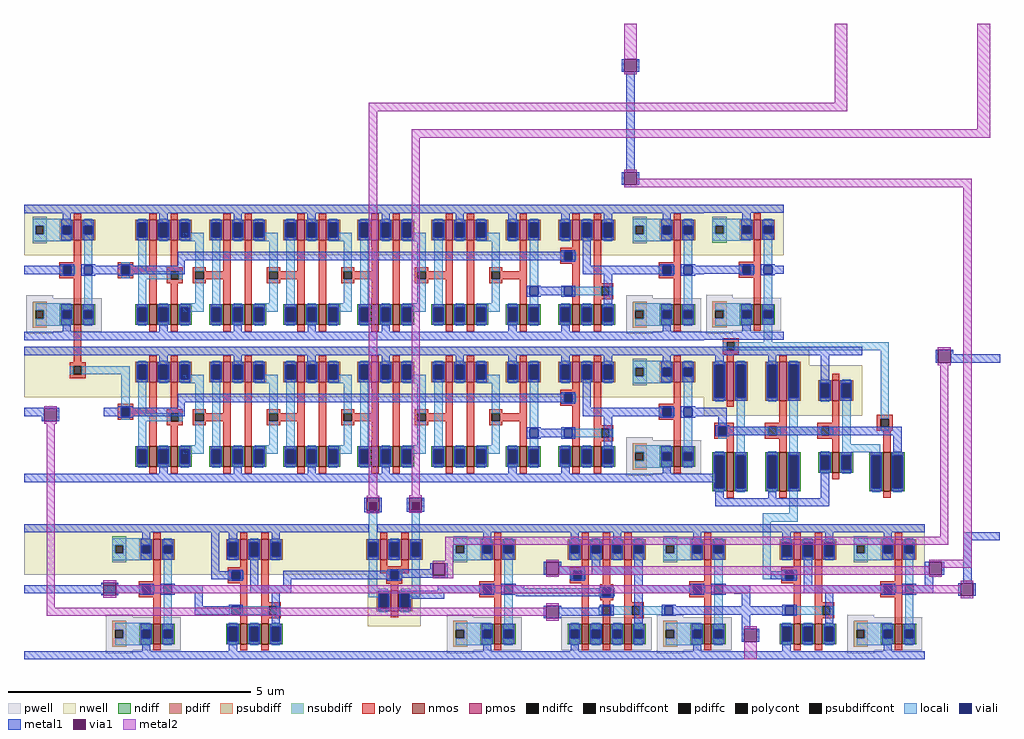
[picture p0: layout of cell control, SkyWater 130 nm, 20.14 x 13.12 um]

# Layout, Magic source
magic
tech sky130A
magscale 1 2
<< nwell >>
rect 0 -236 330 -28
rect 0 -968 328 -760
rect 658 -968 798 -760
rect 1104 -968 1376 -760
rect 1682 -887 1781 -760
rect 1638 -968 1781 -887
rect 2065 -968 2208 -760
rect 2932 -968 3083 -760
rect 1420 -973 1638 -968
<< ndiff >>
rect 3148 -476 3206 -464
rect 3148 -612 3160 -476
rect 3194 -612 3206 -476
rect 3148 -624 3206 -612
<< pdiff >>
rect 3148 -102 3206 -90
rect 3148 -238 3160 -102
rect 3194 -238 3206 -102
rect 3148 -250 3206 -238
<< ndiffc >>
rect 3160 -612 3194 -476
<< pdiffc >>
rect 3160 -238 3194 -102
<< poly >>
rect 206 -92 236 37
rect 2884 -9 2950 7
rect 2884 -43 2900 -9
rect 2934 -43 2950 -9
rect 2884 -59 2950 -43
rect 2900 -64 2930 -59
rect 188 -108 254 -92
rect 188 -142 204 -108
rect 238 -142 254 -108
rect 188 -158 254 -142
rect 3118 -342 3148 -276
rect 3336 -342 3366 -250
rect 2850 -358 2930 -342
rect 2850 -392 2866 -358
rect 2900 -392 2930 -358
rect 2850 -408 2930 -392
rect 3057 -358 3148 -342
rect 3057 -392 3073 -358
rect 3107 -392 3148 -358
rect 3057 -408 3148 -392
rect 3275 -358 3366 -342
rect 3275 -392 3291 -358
rect 3325 -392 3366 -358
rect 3520 -324 3586 -308
rect 3520 -358 3536 -324
rect 3570 -358 3586 -324
rect 3520 -374 3586 -358
rect 3275 -408 3366 -392
rect 2900 -438 2930 -408
rect 3118 -438 3148 -408
rect 3336 -464 3366 -408
rect 3547 -438 3577 -374
rect 1470 -933 1500 -932
rect 1558 -933 1588 -932
rect 1470 -953 1588 -933
rect 1470 -963 1512 -953
rect 1496 -987 1512 -963
rect 1546 -963 1588 -953
rect 1546 -987 1562 -963
rect 1496 -1005 1562 -987
rect 1514 -1009 1544 -1005
<< polycont >>
rect 2900 -43 2934 -9
rect 204 -142 238 -108
rect 2866 -392 2900 -358
rect 3073 -392 3107 -358
rect 3291 -392 3325 -358
rect 3536 -358 3570 -324
rect 1512 -987 1546 -953
<< locali >>
rect 3054 -9 3088 60
rect 2884 -43 2900 -9
rect 2934 -43 3570 -9
rect 3160 -102 3194 -86
rect 188 -142 204 -108
rect 238 -142 436 -108
rect 402 -264 436 -142
rect 2866 -358 2900 -342
rect 2866 -408 2900 -392
rect 2942 -358 2976 -254
rect 3160 -358 3194 -238
rect 2942 -392 3073 -358
rect 3107 -392 3123 -358
rect 3160 -392 3291 -358
rect 3325 -392 3341 -358
rect 2942 -460 2976 -392
rect 3160 -476 3194 -392
rect 3378 -430 3412 -254
rect 3536 -324 3570 -43
rect 3536 -374 3570 -358
rect 3378 -460 3535 -430
rect 3412 -464 3535 -460
rect 1424 -834 1458 -704
rect 1600 -822 1634 -703
rect 3160 -716 3194 -612
rect 3049 -750 3194 -716
rect 1424 -1026 1458 -895
rect 1496 -987 1512 -953
rect 1546 -987 1562 -953
rect 1600 -1026 1634 -910
rect 3049 -954 3083 -750
rect 3049 -988 3128 -954
rect 1424 -1027 1468 -1026
rect 1590 -1027 1634 -1026
rect 1424 -1047 1502 -1027
rect 1556 -1047 1634 -1027
rect 1424 -1061 1468 -1047
rect 1590 -1061 1634 -1047
rect 2558 -1133 2645 -1099
<< viali >>
rect 3160 -238 3194 -102
rect 2866 -392 2900 -358
rect 3160 -612 3194 -476
rect 1424 -704 1458 -670
rect 1600 -703 1634 -669
rect 1512 -987 1546 -953
rect 2645 -1133 2679 -1099
<< metal1 >>
rect 2467 1107 2477 1159
rect 2529 1107 2539 1159
rect 2487 693 2521 1107
rect 2467 641 2477 693
rect 2530 641 2540 693
rect 2854 -28 3024 -27
rect 0 -63 330 -28
rect 2806 -62 3461 -28
rect 2854 -90 2888 -62
rect 3072 -90 3106 -62
rect 3154 -102 3200 -90
rect 3154 -238 3160 -102
rect 3194 -238 3200 -102
rect 3290 -166 3324 -62
rect 3763 -94 3773 -40
rect 3825 -59 3835 -40
rect 3825 -93 4029 -59
rect 3825 -94 3835 -93
rect 3154 -250 3200 -238
rect 0 -283 145 -280
rect 0 -314 83 -283
rect 73 -335 83 -314
rect 135 -335 145 -283
rect 2806 -314 2900 -280
rect 2866 -352 2900 -314
rect 2854 -358 2912 -352
rect 2854 -392 2866 -358
rect 2900 -392 3623 -358
rect 2854 -398 2912 -392
rect 3589 -464 3623 -392
rect 3154 -476 3200 -464
rect 0 -586 330 -552
rect 2806 -586 2854 -552
rect 3154 -612 3160 -476
rect 3194 -612 3200 -476
rect 3154 -624 3200 -612
rect 1405 -704 1415 -652
rect 1467 -704 1477 -652
rect 1405 -710 1477 -704
rect 1580 -703 1590 -651
rect 1642 -703 1652 -651
rect 2854 -653 2888 -624
rect 3072 -653 3106 -624
rect 3290 -653 3324 -548
rect 2854 -687 3325 -653
rect 1580 -709 1652 -703
rect 0 -794 328 -760
rect 658 -794 798 -760
rect 1104 -794 1424 -760
rect 1458 -794 1735 -760
rect 2065 -794 2208 -760
rect 2932 -794 3083 -760
rect 772 -988 806 -794
rect 3878 -827 4028 -793
rect 1677 -947 1687 -922
rect 1500 -953 1687 -947
rect 1070 -987 1512 -953
rect 1546 -974 1687 -953
rect 1739 -974 1749 -922
rect 2146 -968 2156 -916
rect 2208 -968 2218 -916
rect 3719 -968 3736 -916
rect 3788 -968 3798 -916
rect 1546 -981 1749 -974
rect 1546 -987 1558 -981
rect 318 -1012 328 -1002
rect 0 -1046 328 -1012
rect 318 -1054 328 -1046
rect 380 -1054 390 -1002
rect 658 -1046 738 -1012
rect 1070 -1046 1104 -987
rect 1500 -993 1558 -987
rect 1707 -1034 1735 -1012
rect 704 -1099 738 -1046
rect 1596 -1068 1735 -1034
rect 2029 -1058 2208 -1024
rect 2932 -1047 2997 -1012
rect 3719 -1046 3753 -968
rect 3878 -1003 3912 -827
rect 704 -1133 798 -1099
rect 2146 -1148 2156 -1096
rect 2208 -1148 2218 -1096
rect 2633 -1099 2691 -1093
rect 2963 -1099 2997 -1047
rect 3857 -1055 3867 -1003
rect 3919 -1055 3929 -1003
rect 2633 -1133 2645 -1099
rect 2679 -1133 3083 -1099
rect 2633 -1139 2691 -1133
rect 2963 -1192 2997 -1133
rect 2963 -1245 2973 -1192
rect 3025 -1245 3035 -1192
rect 0 -1318 328 -1284
rect 658 -1318 798 -1284
rect 1104 -1318 1735 -1284
rect 2065 -1318 2208 -1284
rect 2932 -1318 3083 -1284
<< via1 >>
rect 2477 1107 2529 1159
rect 2477 641 2530 693
rect 3773 -94 3825 -40
rect 83 -335 135 -283
rect 1415 -670 1467 -652
rect 1415 -704 1424 -670
rect 1424 -704 1458 -670
rect 1458 -704 1467 -670
rect 1590 -669 1642 -651
rect 1590 -703 1600 -669
rect 1600 -703 1634 -669
rect 1634 -703 1642 -669
rect 1687 -974 1739 -922
rect 2156 -968 2208 -916
rect 3736 -968 3788 -916
rect 328 -1054 380 -1002
rect 2156 -1148 2208 -1096
rect 3867 -1055 3919 -1003
rect 2973 -1245 3025 -1192
<< metal2 >>
rect 2477 1159 2529 1306
rect 2477 1097 2529 1107
rect 3346 979 3398 1306
rect 1424 945 3398 979
rect 83 -283 135 -273
rect 83 -345 135 -335
rect 93 -1105 127 -345
rect 1424 -642 1458 945
rect 3936 870 3988 1306
rect 1600 836 3988 870
rect 1600 -641 1634 836
rect 2477 693 2530 703
rect 2530 641 3912 665
rect 2477 631 3912 641
rect 3773 -40 3825 -30
rect 3773 -104 3825 -94
rect 1415 -652 1467 -642
rect 1415 -714 1467 -704
rect 1590 -651 1642 -641
rect 1590 -713 1642 -703
rect 3782 -811 3816 -104
rect 1739 -845 3816 -811
rect 1739 -912 1773 -845
rect 3878 -906 3912 631
rect 1687 -922 1773 -912
rect 1739 -974 1773 -922
rect 1687 -984 1773 -974
rect 2156 -916 2208 -906
rect 3736 -916 3912 -906
rect 2208 -968 3736 -934
rect 3788 -940 3912 -916
rect 2156 -978 2208 -968
rect 3736 -978 3788 -968
rect 328 -1002 380 -992
rect 3867 -1003 3919 -993
rect 380 -1046 3867 -1012
rect 328 -1064 380 -1054
rect 3867 -1065 3919 -1055
rect 2156 -1096 2208 -1086
rect 93 -1139 2156 -1105
rect 2156 -1158 2208 -1148
rect 2973 -1192 3025 -1182
rect 2973 -1318 3025 -1245
use del_cell  del_cell_0
transform 1 0 496 0 1 1
box -166 -1 2310 557
use del_cell  del_cell_1
transform 1 0 496 0 1 -585
box -166 -1 2310 557
use sky130_fd_pr__nfet_01v8_BBXUYH  m1
transform 1 0 2915 0 1 -544
box -73 -106 73 106
use sky130_fd_pr__pfet_01v8_5C6TXA  m2
transform 1 0 2915 0 1 -170
box -109 -142 109 142
use sky130_fd_pr__pfet_01v8_5C6TXA  m3
transform 1 0 3133 0 1 -170
box -109 -142 109 142
use sky130_fd_pr__nfet_01v8_BBXUYH  m4
transform 1 0 3133 0 1 -544
box -73 -106 73 106
use sky130_fd_pr__pfet_01v8_4Y88KP  m5
transform 1 0 3351 0 1 -208
box -109 -104 109 104
use sky130_fd_pr__nfet_01v8_A6LSUL  m6
transform 1 0 3351 0 1 -506
box -73 -68 73 68
use sky130_fd_pr__nfet_01v8_BBXUYH  m7
transform 1 0 3562 0 1 -544
box -73 -106 73 106
use sky130_fd_pr__pfet_01v8_4Y88KP  m8
transform -1 0 1485 0 1 -864
box -109 -104 109 104
use sky130_fd_pr__pfet_01v8_4Y88KP  m9
transform 1 0 1573 0 1 -864
box -109 -104 109 104
use sky130_fd_pr__pfet_01v8_4Y88KP  m10
transform 1 0 1529 0 1 -1077
box -109 -104 109 104
use nand2_f  nand2_f_0 ~/Desktop/FabRAM/FE/sram130/nand2
transform 1 0 3083 0 1 -1456
box 0 138 306 696
use nand2_f  nand2_f_1
transform 1 0 798 0 1 -1456
box 0 138 306 696
use nand3_f  nand3_f_0 ~/Desktop/FabRAM/FE/sram130/nand3
transform 1 0 2208 0 1 -1456
box 0 138 394 696
use not_f  not_f_0 ~/Desktop/FabRAM/FE/sram130/not
transform 1 0 0 0 1 -138
box 0 138 330 696
use not_f  not_f_1
transform 1 0 2806 0 1 -137
box 0 138 330 696
use not_f  not_f_2
transform 1 0 3389 0 1 -1456
box 0 138 330 696
use not_f  not_f_3
transform 1 0 328 0 1 -1456
box 0 138 330 696
use not_f  not_f_4
transform 1 0 1735 0 1 -1456
box 0 138 330 696
use not_f  not_f_5
transform 1 0 2602 0 1 -1456
box 0 138 330 696
<< end >>

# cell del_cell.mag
magic
tech sky130A
magscale 1 2
<< nwell >>
rect -166 349 -73 557
<< nmos >>
rect 633 62 663 146
rect 939 62 969 146
rect 1244 62 1274 146
rect 1550 62 1580 146
<< pmos >>
rect 633 411 663 495
rect 939 411 969 495
rect 1244 411 1274 495
rect 1550 411 1580 495
<< ndiff >>
rect 445 134 503 146
rect 445 74 457 134
rect 491 74 503 134
rect 445 62 503 74
rect 751 134 809 146
rect 751 74 763 134
rect 797 74 809 134
rect 751 62 809 74
rect 1056 134 1114 146
rect 1056 74 1068 134
rect 1102 74 1114 134
rect 1056 62 1114 74
rect 1362 134 1420 146
rect 1362 74 1374 134
rect 1408 74 1420 134
rect 1362 62 1420 74
<< pdiff >>
rect 445 483 503 495
rect 445 423 457 483
rect 491 423 503 483
rect 445 411 503 423
rect 751 483 809 495
rect 751 423 763 483
rect 797 423 809 483
rect 751 411 809 423
rect 1056 483 1114 495
rect 1056 423 1068 483
rect 1102 423 1114 483
rect 1056 411 1114 423
rect 1362 483 1420 495
rect 1362 423 1374 483
rect 1408 423 1420 483
rect 1362 411 1420 423
<< ndiffc >>
rect 457 74 491 134
rect 763 74 797 134
rect 1068 74 1102 134
rect 1374 74 1408 134
<< pdiffc >>
rect 457 423 491 483
rect 763 423 797 483
rect 1068 423 1102 483
rect 1374 423 1408 483
<< poly >>
rect 633 495 663 521
rect 939 495 969 521
rect 1244 495 1274 521
rect 1550 495 1580 521
rect -110 305 -44 321
rect 21 305 51 385
rect -110 271 -94 305
rect -60 271 51 305
rect 109 299 139 386
rect -110 255 -44 271
rect 21 172 51 271
rect 93 283 159 299
rect 93 249 109 283
rect 143 249 159 283
rect 93 233 159 249
rect 201 283 255 299
rect 327 283 357 385
rect 201 249 211 283
rect 245 249 357 283
rect 201 233 255 249
rect 109 172 139 233
rect 327 172 357 249
rect 415 172 445 385
rect 507 283 561 299
rect 633 283 663 411
rect 507 249 517 283
rect 551 249 663 283
rect 507 233 561 249
rect 633 146 663 249
rect 721 172 751 385
rect 813 283 867 299
rect 939 283 969 411
rect 813 249 823 283
rect 857 249 969 283
rect 813 233 867 249
rect 939 146 969 249
rect 1026 169 1056 386
rect 1118 283 1172 299
rect 1244 283 1274 411
rect 1118 249 1128 283
rect 1162 249 1274 283
rect 1118 233 1172 249
rect 1244 146 1274 249
rect 1332 172 1362 385
rect 1424 283 1478 299
rect 1550 283 1580 411
rect 1424 249 1434 283
rect 1468 249 1580 283
rect 1424 233 1478 249
rect 1550 146 1580 249
rect 633 36 663 62
rect 939 36 969 62
rect 1244 36 1274 62
rect 1550 36 1580 62
<< polycont >>
rect -94 271 -60 305
rect 109 249 143 283
rect 211 249 245 283
rect 517 249 551 283
rect 823 249 857 283
rect 1128 249 1162 283
rect 1434 249 1468 283
<< locali >>
rect 457 483 491 499
rect 159 407 245 441
rect 763 483 797 499
rect 491 423 551 441
rect 457 407 551 423
rect 1068 483 1102 499
rect 797 423 857 441
rect 763 407 857 423
rect 1374 483 1408 499
rect 1102 423 1162 441
rect 1068 407 1162 423
rect 1408 423 1468 441
rect 1374 407 1468 423
rect -94 305 -60 321
rect -94 255 -60 271
rect -25 283 9 407
rect 211 283 245 407
rect -25 249 109 283
rect 143 249 159 283
rect -25 150 9 249
rect 211 150 245 249
rect 281 150 315 407
rect 517 283 551 407
rect 517 150 551 249
rect 587 150 621 407
rect 823 283 857 407
rect 823 150 857 249
rect 892 150 926 407
rect 1128 283 1162 407
rect 1128 150 1162 249
rect 1198 150 1232 407
rect 1434 283 1468 407
rect 1434 150 1468 249
rect 1592 218 1626 407
rect 1592 150 1626 184
rect 159 116 245 150
rect 457 134 551 150
rect 491 116 551 134
rect 763 134 857 150
rect 457 58 491 74
rect 797 116 857 134
rect 1068 134 1162 150
rect 763 58 797 74
rect 1102 116 1162 134
rect 1374 134 1468 150
rect 1068 58 1102 74
rect 1408 116 1468 134
rect 1374 58 1408 74
<< viali >>
rect 457 423 491 483
rect 763 423 797 483
rect 1068 423 1102 483
rect 1374 423 1408 483
rect -94 271 -60 305
rect 1592 184 1626 218
rect 457 74 491 134
rect 763 74 797 134
rect 1068 74 1102 134
rect 1374 74 1408 134
<< metal1 >>
rect -166 523 1674 557
rect 63 495 97 523
rect 369 495 403 523
rect 674 495 708 523
rect 980 495 1014 523
rect 1286 495 1320 523
rect 1504 495 1538 523
rect 451 483 497 495
rect 451 423 457 483
rect 491 423 497 483
rect 451 411 497 423
rect 757 483 803 495
rect 757 423 763 483
rect 797 423 803 483
rect 757 411 803 423
rect 1062 483 1108 495
rect 1062 423 1068 483
rect 1102 423 1108 483
rect 1062 411 1108 423
rect 1368 483 1414 495
rect 1368 423 1374 483
rect 1408 423 1414 483
rect 1368 411 1414 423
rect 139 329 1674 363
rect -106 305 -48 311
rect 139 305 167 329
rect -166 271 -94 305
rect -60 271 167 305
rect -106 265 -48 271
rect 1580 218 1638 224
rect 1580 184 1592 218
rect 1626 184 1674 218
rect 1580 178 1638 184
rect 451 134 497 146
rect 451 74 457 134
rect 491 74 497 134
rect 451 62 497 74
rect 757 134 803 146
rect 757 74 763 134
rect 797 74 803 134
rect 757 62 803 74
rect 1062 134 1108 146
rect 1062 74 1068 134
rect 1102 74 1108 134
rect 1062 62 1108 74
rect 1368 134 1414 146
rect 1368 74 1374 134
rect 1408 74 1414 134
rect 1368 62 1414 74
rect 63 33 97 62
rect 369 33 403 62
rect 675 33 709 62
rect 980 33 1014 62
rect 1504 33 1538 62
rect -166 -1 1674 33
use sky130_fd_pr__nfet_01v8_A6LSUL  m1
transform -1 0 36 0 1 104
box -73 -68 73 68
use sky130_fd_pr__nfet_01v8_A6LSUL  m2
transform 1 0 124 0 1 104
box -73 -68 73 68
use sky130_fd_pr__nfet_01v8_A6LSUL  m3
transform -1 0 342 0 1 104
box -73 -68 73 68
use sky130_fd_pr__nfet_01v8_A6LSUL  m4
transform 1 0 430 0 1 104
box -73 -68 73 68
use sky130_fd_pr__nfet_01v8_A6LSUL  m5
transform -1 0 648 0 1 104
box -73 -68 73 68
use sky130_fd_pr__nfet_01v8_A6LSUL  m6
transform 1 0 736 0 1 104
box -73 -68 73 68
use sky130_fd_pr__nfet_01v8_A6LSUL  m7
transform -1 0 953 0 1 104
box -73 -68 73 68
use sky130_fd_pr__nfet_01v8_A6LSUL  m8
transform 1 0 1041 0 1 104
box -73 -68 73 68
use sky130_fd_pr__nfet_01v8_A6LSUL  m9
transform -1 0 1259 0 1 104
box -73 -68 73 68
use sky130_fd_pr__nfet_01v8_A6LSUL  m10
transform -1 0 1347 0 1 104
box -73 -68 73 68
use sky130_fd_pr__nfet_01v8_A6LSUL  m11
transform 1 0 1565 0 1 104
box -73 -68 73 68
use sky130_fd_pr__pfet_01v8_4Y88KP  m12
transform -1 0 36 0 1 453
box -109 -104 109 104
use sky130_fd_pr__pfet_01v8_4Y88KP  m13
transform 1 0 124 0 1 453
box -109 -104 109 104
use sky130_fd_pr__pfet_01v8_4Y88KP  m14
transform -1 0 342 0 1 453
box -109 -104 109 104
use sky130_fd_pr__pfet_01v8_4Y88KP  m15
transform 1 0 430 0 1 453
box -109 -104 109 104
use sky130_fd_pr__pfet_01v8_4Y88KP  m16
transform -1 0 648 0 1 453
box -109 -104 109 104
use sky130_fd_pr__pfet_01v8_4Y88KP  m17
transform 1 0 736 0 1 453
box -109 -104 109 104
use sky130_fd_pr__pfet_01v8_4Y88KP  m18
transform -1 0 953 0 1 453
box -109 -104 109 104
use sky130_fd_pr__pfet_01v8_4Y88KP  m19
transform 1 0 1041 0 1 453
box -109 -104 109 104
use sky130_fd_pr__pfet_01v8_4Y88KP  m20
transform -1 0 1259 0 1 453
box -109 -104 109 104
use sky130_fd_pr__pfet_01v8_4Y88KP  m21
transform 1 0 1347 0 1 453
box -109 -104 109 104
use sky130_fd_pr__pfet_01v8_4Y88KP  m22
transform 1 0 1565 0 1 453
box -109 -104 109 104
use nand2_f  nand2_f_0 ~/Desktop/FabRAM/FE/sram130/nand2
transform 1 0 1674 0 1 -139
box 0 138 306 696
use not_f  not_f_0 ~/Desktop/FabRAM/FE/sram130/not
transform 1 0 1980 0 1 -139
box 0 138 330 696
<< end >>

# cell sky130_fd_pr__nfet_01v8_BBXUYH: kit device sky130_fd_pr__nfet_01v8, w 0.8 l 0.150 m 1 nf 1 diffcov 100 polycov 100 guard 0 glc 0 grc 0 gtc 0 gbc 0 tbcov 100 rlcov 100 topc 0 botc 0 poverlap 0 doverlap 0 lmin 0.15 wmin 0.42 compatible {sky130_fd_pr__nfet_01v8 sky130_fd_pr__nfet_01v8_lvt sky130_fd_bs_flash__special_sonosfet_star sky130_fd_pr__nfet_g5v0d10v5 sky130_fd_pr__nfet_05v0_nvt sky130_fd_pr__nfet_03v3_nvt} full_metal 0 viasrc 100 viadrn 100 viagate 100 viagb 0 viagr 0 viagl 0 viagt 0

# cell sky130_fd_pr__pfet_01v8_5C6TXA: kit device sky130_fd_pr__pfet_01v8, w 0.8 l 0.15 m 1 nf 1 diffcov 100 polycov 100 guard 0 glc 0 grc 0 gtc 0 gbc 0 tbcov 100 rlcov 100 topc 0 botc 0 poverlap 0 doverlap 0 lmin 0.15 wmin 0.42 compatible {sky130_fd_pr__pfet_01v8 sky130_fd_pr__pfet_01v8_lvt sky130_fd_pr__pfet_01v8_hvt sky130_fd_pr__pfet_g5v0d10v5} full_metal 0 viasrc 100 viadrn 100 viagate 100 viagb 0 viagr 0 viagl 0 viagt 0

# cell sky130_fd_pr__pfet_01v8_4Y88KP: kit device sky130_fd_pr__pfet_01v8, w 0.42 l 0.15 m 1 nf 1 diffcov 100 polycov 100 guard 0 glc 0 grc 0 gtc 0 gbc 0 tbcov 100 rlcov 100 topc 0 botc 0 poverlap 0 doverlap 0 lmin 0.15 wmin 0.42 compatible {sky130_fd_pr__pfet_01v8 sky130_fd_pr__pfet_01v8_lvt sky130_fd_pr__pfet_01v8_hvt sky130_fd_pr__pfet_g5v0d10v5} full_metal 0 viasrc 100 viadrn 100 viagate 100 viagb 0 viagr 0 viagl 0 viagt 0

# cell sky130_fd_pr__nfet_01v8_A6LSUL: kit device sky130_fd_pr__nfet_01v8, w 0.420 l 0.150 m 1 nf 1 diffcov 100 polycov 100 guard 0 glc 0 grc 0 gtc 0 gbc 0 tbcov 100 rlcov 100 topc 0 botc 0 poverlap 0 doverlap 0 lmin 0.15 wmin 0.42 compatible {sky130_fd_pr__nfet_01v8 sky130_fd_pr__nfet_01v8_lvt sky130_fd_bs_flash__special_sonosfet_star sky130_fd_pr__nfet_g5v0d10v5 sky130_fd_pr__nfet_05v0_nvt sky130_fd_pr__nfet_03v3_nvt} full_metal 0 viasrc 100 viadrn 100 viagate 100 viagb 0 viagr 0 viagl 0 viagt 0

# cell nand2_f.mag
magic
tech sky130A
magscale 1 2
<< nwell >>
rect 0 488 306 696
<< nmos >>
rect 94 201 124 285
rect 182 201 212 285
<< pmos >>
rect 94 550 124 634
rect 182 550 212 634
<< ndiff >>
rect 36 273 94 285
rect 36 213 48 273
rect 82 213 94 273
rect 36 201 94 213
rect 124 273 182 285
rect 124 213 136 273
rect 170 213 182 273
rect 124 201 182 213
rect 212 273 270 285
rect 212 213 224 273
rect 258 213 270 273
rect 212 201 270 213
<< pdiff >>
rect 36 622 94 634
rect 36 562 48 622
rect 82 562 94 622
rect 36 550 94 562
rect 124 622 182 634
rect 124 562 136 622
rect 170 562 182 622
rect 124 550 182 562
rect 212 622 270 634
rect 212 562 224 622
rect 258 562 270 622
rect 212 550 270 562
<< ndiffc >>
rect 48 213 82 273
rect 136 213 170 273
rect 224 213 258 273
<< pdiffc >>
rect 48 562 82 622
rect 136 562 170 622
rect 224 562 258 622
<< poly >>
rect 94 634 124 660
rect 182 634 212 660
rect 94 518 124 550
rect 44 502 124 518
rect 44 468 60 502
rect 94 468 124 502
rect 44 452 124 468
rect 94 285 124 452
rect 182 373 212 550
rect 182 357 262 373
rect 182 323 212 357
rect 246 323 262 357
rect 182 307 262 323
rect 182 285 212 307
rect 94 175 124 201
rect 182 175 212 201
<< polycont >>
rect 60 468 94 502
rect 212 323 246 357
<< locali >>
rect 48 622 82 638
rect 48 546 82 562
rect 136 622 170 638
rect 136 546 170 562
rect 224 622 258 638
rect 224 546 258 562
rect 44 468 60 502
rect 94 468 110 502
rect 48 323 60 357
rect 94 323 212 357
rect 246 323 262 357
rect 48 273 82 289
rect 48 197 82 213
rect 136 273 170 289
rect 136 197 170 213
rect 224 273 258 289
rect 224 197 258 213
<< viali >>
rect 48 562 82 622
rect 136 562 170 622
rect 224 562 258 622
rect 60 468 94 502
rect 60 323 94 357
rect 48 213 82 273
rect 136 213 170 273
rect 224 213 258 273
<< metal1 >>
rect 0 662 306 696
rect 48 634 82 662
rect 224 634 258 662
rect 42 622 88 634
rect 42 562 48 622
rect 82 562 88 622
rect 42 550 88 562
rect 130 622 176 634
rect 130 562 136 622
rect 170 562 176 622
rect 130 550 176 562
rect 218 622 264 634
rect 218 562 224 622
rect 258 562 264 622
rect 218 550 264 562
rect 48 502 106 508
rect 0 468 60 502
rect 94 468 106 502
rect 48 462 106 468
rect 136 444 170 550
rect 136 410 306 444
rect 48 357 106 363
rect 0 323 60 357
rect 94 323 106 357
rect 48 317 106 323
rect 224 285 258 410
rect 42 273 88 285
rect 42 213 48 273
rect 82 213 88 273
rect 42 201 88 213
rect 130 273 176 285
rect 130 213 136 273
rect 170 213 176 273
rect 130 201 176 213
rect 218 273 264 285
rect 218 213 224 273
rect 258 213 264 273
rect 218 201 264 213
rect 48 172 82 201
rect 0 138 306 172
<< labels >>
rlabel metal1 0 662 34 696 0 VDD
rlabel metal1 0 468 34 502 0 A
rlabel metal1 0 323 34 357 0 B
rlabel metal1 0 138 34 172 0 VSS
rlabel metal1 272 410 306 444 0 Y
<< end >>

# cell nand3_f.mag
magic
tech sky130A
magscale 1 2
<< nwell >>
rect 0 488 394 696
<< pwell >>
rect 10 175 384 311
<< nmos >>
rect 94 201 124 285
rect 182 201 212 285
rect 270 201 300 285
<< pmos >>
rect 94 550 124 634
rect 182 550 212 634
rect 270 550 300 634
<< ndiff >>
rect 36 260 94 285
rect 36 226 48 260
rect 82 226 94 260
rect 36 201 94 226
rect 124 260 182 285
rect 124 226 136 260
rect 170 226 182 260
rect 124 201 182 226
rect 212 260 270 285
rect 212 226 224 260
rect 258 226 270 260
rect 212 201 270 226
rect 300 260 358 285
rect 300 226 312 260
rect 346 226 358 260
rect 300 201 358 226
<< pdiff >>
rect 36 609 94 634
rect 36 575 48 609
rect 82 575 94 609
rect 36 550 94 575
rect 124 609 182 634
rect 124 575 136 609
rect 170 575 182 609
rect 124 550 182 575
rect 212 609 270 634
rect 212 575 224 609
rect 258 575 270 609
rect 212 550 270 575
rect 300 609 358 634
rect 300 575 312 609
rect 346 575 358 609
rect 300 550 358 575
<< ndiffc >>
rect 48 226 82 260
rect 136 226 170 260
rect 224 226 258 260
rect 312 226 346 260
<< pdiffc >>
rect 48 575 82 609
rect 136 575 170 609
rect 224 575 258 609
rect 312 575 346 609
<< poly >>
rect 94 634 124 660
rect 182 634 212 660
rect 270 634 300 660
rect 94 519 124 550
rect 44 503 124 519
rect 44 469 60 503
rect 94 469 124 503
rect 44 453 124 469
rect 94 285 124 453
rect 182 448 212 550
rect 170 432 224 448
rect 170 398 180 432
rect 214 398 224 432
rect 170 382 224 398
rect 182 285 212 382
rect 270 373 300 550
rect 270 357 350 373
rect 270 323 300 357
rect 334 323 350 357
rect 270 307 350 323
rect 270 285 300 307
rect 94 175 124 201
rect 182 175 212 201
rect 270 175 300 201
<< polycont >>
rect 60 469 94 503
rect 180 398 214 432
rect 300 323 334 357
<< locali >>
rect 48 609 82 638
rect 48 546 82 575
rect 136 609 170 638
rect 136 546 170 575
rect 224 609 258 638
rect 224 546 258 575
rect 312 609 346 638
rect 312 546 346 575
rect 44 469 60 503
rect 94 469 110 503
rect 164 398 180 432
rect 214 398 230 432
rect 164 323 180 357
rect 214 323 300 357
rect 334 323 350 357
rect 48 260 82 289
rect 48 197 82 226
rect 136 260 170 289
rect 136 197 170 226
rect 224 260 258 289
rect 224 197 258 226
rect 312 260 346 289
rect 312 197 346 226
<< viali >>
rect 48 575 82 609
rect 136 575 170 609
rect 224 575 258 609
rect 312 575 346 609
rect 60 469 94 503
rect 180 398 214 432
rect 180 323 214 357
rect 48 226 82 260
rect 136 226 170 260
rect 224 226 258 260
rect 312 226 346 260
<< metal1 >>
rect 0 662 394 696
rect 48 634 82 662
rect 224 634 258 662
rect 42 609 88 634
rect 42 575 48 609
rect 82 575 88 609
rect 42 550 88 575
rect 130 609 176 634
rect 130 575 136 609
rect 170 575 176 609
rect 130 550 176 575
rect 218 609 264 634
rect 218 575 224 609
rect 258 575 264 609
rect 218 550 264 575
rect 306 609 352 634
rect 306 575 312 609
rect 346 575 352 609
rect 306 550 352 575
rect 136 522 170 550
rect 312 522 346 550
rect 0 503 106 522
rect 0 488 60 503
rect 48 469 60 488
rect 94 469 106 503
rect 136 488 346 522
rect 48 463 106 469
rect 312 444 346 488
rect 168 432 226 438
rect 0 398 180 432
rect 214 398 226 432
rect 168 392 226 398
rect 312 410 394 444
rect 168 357 226 363
rect 168 351 180 357
rect 0 323 180 351
rect 214 323 226 357
rect 0 317 226 323
rect 312 285 346 410
rect 42 260 88 285
rect 42 226 48 260
rect 82 226 88 260
rect 42 201 88 226
rect 130 260 176 285
rect 130 226 136 260
rect 170 226 176 260
rect 130 201 176 226
rect 218 260 264 285
rect 218 226 224 260
rect 258 226 264 260
rect 218 201 264 226
rect 306 260 352 285
rect 306 226 312 260
rect 346 226 352 260
rect 306 201 352 226
rect 48 172 82 201
rect 0 138 394 172
<< labels >>
flabel metal1 s 0 662 34 696 0 FreeSans 44 0 0 0 VDD
port 1 nsew
flabel metal1 s 0 138 34 172 0 FreeSans 44 0 0 0 VSS
port 2 nsew
flabel metal1 s 360 410 394 444 0 FreeSans 44 0 0 0 Y
port 3 nsew
flabel metal1 s 0 317 34 351 0 FreeSans 44 0 0 0 C
port 4 nsew
flabel metal1 s 0 398 34 432 0 FreeSans 44 0 0 0 B
port 5 nsew
flabel metal1 s 0 488 34 522 0 FreeSans 44 0 0 0 A
port 6 nsew
<< end >>

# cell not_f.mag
magic
tech sky130A
magscale 1 2
<< nwell >>
rect 0 488 330 696
<< pwell >>
rect 10 311 120 323
rect 10 175 320 311
rect 10 163 120 175
<< nmos >>
rect 206 201 236 285
<< pmos >>
rect 206 550 236 634
<< ndiff >>
rect 148 260 206 285
rect 148 226 160 260
rect 194 226 206 260
rect 148 201 206 226
rect 236 260 294 285
rect 236 226 248 260
rect 282 226 294 260
rect 236 201 294 226
<< pdiff >>
rect 148 609 206 634
rect 148 575 160 609
rect 194 575 206 609
rect 148 550 206 575
rect 236 609 294 634
rect 236 575 248 609
rect 282 575 294 609
rect 236 550 294 575
<< ndiffc >>
rect 160 226 194 260
rect 248 226 282 260
<< pdiffc >>
rect 160 575 194 609
rect 248 575 282 609
<< psubdiff >>
rect 36 260 94 297
rect 36 226 48 260
rect 82 226 94 260
rect 36 189 94 226
<< nsubdiff >>
rect 36 609 94 646
rect 36 575 48 609
rect 82 575 94 609
rect 36 538 94 575
<< psubdiffcont >>
rect 48 226 82 260
<< nsubdiffcont >>
rect 48 575 82 609
<< poly >>
rect 206 634 236 660
rect 206 460 236 550
rect 145 444 236 460
rect 145 410 161 444
rect 195 410 236 444
rect 145 394 236 410
rect 206 285 236 394
rect 206 175 236 201
<< polycont >>
rect 161 410 195 444
<< locali >>
rect 36 609 194 638
rect 36 575 48 609
rect 82 575 160 609
rect 36 546 194 575
rect 248 609 282 638
rect 248 444 282 575
rect 145 410 161 444
rect 195 410 211 444
rect 48 260 194 289
rect 82 226 160 260
rect 48 197 194 226
rect 248 260 282 410
rect 248 197 282 226
<< viali >>
rect 160 575 194 609
rect 248 575 282 609
rect 161 410 195 444
rect 248 410 282 444
rect 160 226 194 260
rect 248 226 282 260
<< metal1 >>
rect 0 662 330 696
rect 160 634 194 662
rect 154 609 200 634
rect 154 575 160 609
rect 194 575 200 609
rect 154 550 200 575
rect 242 609 288 634
rect 242 575 248 609
rect 282 575 288 609
rect 242 550 288 575
rect 149 444 207 450
rect 0 410 161 444
rect 195 410 207 444
rect 149 404 207 410
rect 236 444 294 450
rect 236 410 248 444
rect 282 410 330 444
rect 236 404 294 410
rect 154 260 200 285
rect 154 226 160 260
rect 194 226 200 260
rect 154 201 200 226
rect 242 260 288 285
rect 242 226 248 260
rect 282 226 288 260
rect 242 201 288 226
rect 160 172 194 201
rect 0 138 330 172
<< labels >>
flabel metal1 s 296 410 330 444 0 FreeSans 44 0 0 0 B
port 1 nsew
flabel metal1 s 0 662 34 696 0 FreeSans 44 0 0 0 VDD
port 2 nsew
flabel metal1 s 0 410 34 444 0 FreeSans 44 0 0 0 A
port 3 nsew
flabel metal1 s 0 138 34 172 0 FreeSans 44 0 0 0 VSS
port 4 nsew
<< end >>
